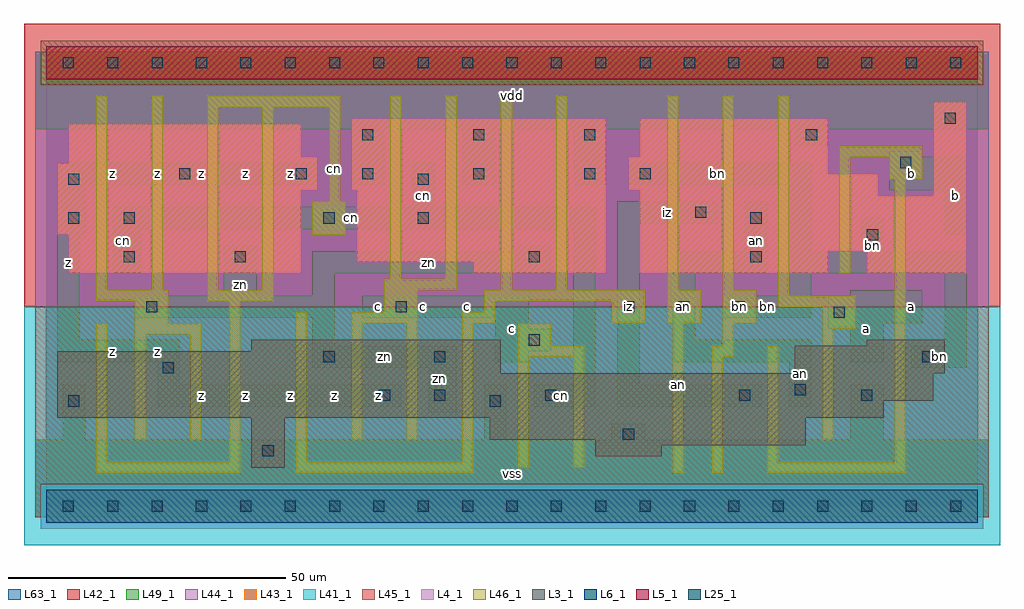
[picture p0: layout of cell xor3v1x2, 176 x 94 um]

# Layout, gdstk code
import gdstk
lib = gdstk.Library(unit=1e-6, precision=1e-09)
def R(c, l, rs):  # rectangles x0, y0, x1, y1
    for r in rs: c.add(gdstk.rectangle(r[:2], r[2:], *l))
def A(c, l, x, y, w, h, nx, ny, dx, dy):  # array of equal rectangles
    R(c, l, [(x+i*dx, y+j*dy, x+i*dx+w, y+j*dy+h) for i in range(nx) for j in range(ny)])
L3_1 = (3, 1)
L4_1 = (4, 1)
L5_1 = (5, 1)
L6_1 = (6, 1)
L25_1 = (25, 1)
L41_1 = (41, 1)
L42_1 = (42, 1)
L43_1 = (43, 1)
L44_1 = (44, 1)
L45_1 = (45, 1)
L46_1 = (46, 1)
L49_1 = (49, 1)
L63_1 = (63, 1)

xor3v1x2 = lib.new_cell('xor3v1x2')
R(xor3v1x2, L3_1, [(37,7,43,16), (99,9,111,11), (99,11,137,12), (80,12,137,16), (2,16,151,19), (2,19,160,24), (2,24,82,28), (135,24,162,29), (37,28,82,30), (148,29,162,30)])
R(xor3v1x2, L4_1, [(4,42,46,49), (77,42,101,44), (107,42,141,46), (148,42,166,46), (56,44,101,57), (107,46,166,56), (2,49,46,57), (107,56,150,57), (160,56,166,73), (2,57,49,62), (55,57,101,70), (105,57,150,60), (105,60,141,63), (4,62,49,63), (4,63,46,69), (107,63,141,70)])
R(xor3v1x2, L5_1, [(0,77,168,83)])
R(xor3v1x2, L6_1, [(0,-3,168,3), (0,-3,168,3)])
A(xor3v1x2, L25_1, 3, -1, 2, 2, 21, 2, 8, 80)
A(xor3v1x2, L25_1, 104, 35, 2, 2, 3, 1, 10, 0)
A(xor3v1x2, L25_1, 57, 59, 2, 2, 3, 2, 20, 7)
R(xor3v1x2, L25_1, [(39,9,41,11), (104,12,106,14), (4,18,6,20), (80,18,82,20), (60,19,62,21), (70,19,72,21), (90,19,92,21), (125,19,127,21), (147,19,149,21), (135,20,137,22), (21,24,23,26), (50,26,52,28), (70,26,72,28), (158,26,160,28), (87,29,89,31), (142,34,144,36), (18,35,20,37), (63,35,65,37), (14,44,16,46), (34,44,36,46), (87,44,89,46), (127,44,129,46), (148,48,150,50), (4,51,6,53), (14,51,16,53), (50,51,52,53), (67,51,69,53), (127,51,129,53), (117,52,119,54), (4,58,6,60), (67,58,69,60), (24,59,26,61), (45,59,47,61), (107,59,109,61), (154,61,156,63), (137,66,139,68), (162,69,164,71)])
R(xor3v1x2, L41_1, [(-4,-7,172,36)])
R(xor3v1x2, L42_1, [(-4,36,172,87)])
R(xor3v1x2, L43_1, [(0,-3,168,3), (37,7,43,16), (99,9,111,11), (99,11,137,12), (80,12,137,16), (2,16,151,19), (2,19,160,24), (2,24,82,28), (135,24,162,29), (37,28,82,30), (148,29,162,30), (4,42,46,49), (77,42,101,44), (107,42,141,46), (148,42,166,46), (56,44,101,57), (107,46,166,56), (2,49,46,57), (107,56,150,57), (160,56,166,73), (2,57,49,62), (55,57,101,70), (105,57,150,60), (105,60,141,63), (4,62,49,63), (4,63,46,69), (107,63,141,70), (0,77,168,83)])
R(xor3v1x2, L44_1, [(-1,-4,169,4), (-2,36,170,76), (-2,76,-1,82), (169,76,170,82)])
R(xor3v1x2, L45_1, [(-2,-2,-1,4), (169,-2,170,4), (-2,4,170,36), (-1,76,169,84)])
R(xor3v1x2, L46_1, [(9,6,35,8), (45,6,77,8), (113,6,115,33), (120,6,122,27), (130,6,155,8), (85,7,87,27), (95,7,97,27), (9,8,11,33), (33,8,35,37), (45,8,47,35), (75,8,77,33), (130,8,132,29), (153,8,155,59), (16,12,18,31), (26,12,28,31), (55,12,57,33), (65,12,67,33), (140,12,142,32), (85,27,97,29), (120,27,124,29), (85,29,91,33), (122,29,124,33), (16,31,28,33), (140,32,146,36), (16,33,22,37), (55,33,67,35), (75,33,81,35), (102,33,108,37), (112,33,118,39), (122,33,128,39), (61,35,67,39), (79,35,81,37), (132,36,146,38), (9,37,22,39), (29,37,41,39), (79,37,108,39), (132,38,134,74), (9,39,11,74), (19,39,21,74), (29,39,31,72), (39,39,41,72), (61,39,74,41), (82,39,84,74), (92,39,94,74), (112,39,114,74), (122,39,124,74), (62,41,64,74), (72,41,74,74), (143,42,145,63), (48,49,54,55), (51,55,53,72), (152,59,158,63), (143,63,158,65), (29,72,53,74)])
A(xor3v1x2, L49_1, 55, 58, 6, 10, 3, 1, 20, 0)
R(xor3v1x2, L49_1, [(-2,-2,170,12), (3,12,7,22), (79,12,83,22), (102,12,108,15), (145,12,151,22), (69,17,74,25), (20,18,64,22), (88,18,99,22), (103,18,129,22), (134,18,138,26), (20,22,24,26), (95,22,99,50), (103,22,107,51), (48,25,74,29), (156,25,166,29), (2,26,24,30), (81,26,87,28), (113,26,138,30), (145,26,151,32), (81,28,91,32), (48,29,52,34), (162,29,166,42), (2,30,6,49), (113,30,117,42), (81,32,87,34), (141,32,151,33), (141,33,158,38), (16,34,52,38), (57,34,87,38), (122,34,138,38), (32,38,38,47), (48,38,52,42), (134,38,138,42), (145,38,158,39), (12,42,17,50), (48,42,91,46), (113,42,130,46), (134,42,166,46), (85,46,91,47), (126,46,130,55), (134,46,138,58), (147,46,151,52), (2,49,7,58), (162,49,166,57), (12,50,99,54), (103,51,121,55), (66,54,70,62), (152,57,166,63), (2,58,49,62), (105,58,138,62), (152,63,158,64), (135,65,141,68), (-2,68,170,82)])
R(xor3v1x2, L63_1, [(0,0,168,80)])
xor3v1x2.add(gdstk.Label('cn', (52,61), layer=46, texttype=1))
xor3v1x2.add(gdstk.Label('an', (114,22), layer=46, texttype=1))
xor3v1x2.add(gdstk.Label('iz', (105,36), layer=49, texttype=1))
xor3v1x2.add(gdstk.Label('bn', (125,36), layer=49, texttype=1))
xor3v1x2.add(gdstk.Label('z', (20,28), layer=49, texttype=1))
xor3v1x2.add(gdstk.Label('z', (12,28), layer=49, texttype=1))
xor3v1x2.add(gdstk.Label('z', (28,20), layer=49, texttype=1))
xor3v1x2.add(gdstk.Label('z', (4,44), layer=49, texttype=1))
xor3v1x2.add(gdstk.Label('cn', (14,48), layer=49, texttype=1))
xor3v1x2.add(gdstk.Label('z', (12,60), layer=49, texttype=1))
xor3v1x2.add(gdstk.Label('z', (20,60), layer=49, texttype=1))
xor3v1x2.add(gdstk.Label('z', (28,60), layer=49, texttype=1))
xor3v1x2.add(gdstk.Label('z', (36,20), layer=49, texttype=1))
xor3v1x2.add(gdstk.Label('z', (44,20), layer=49, texttype=1))
xor3v1x2.add(gdstk.Label('z', (52,20), layer=49, texttype=1))
xor3v1x2.add(gdstk.Label('z', (60,20), layer=49, texttype=1))
xor3v1x2.add(gdstk.Label('zn', (35,40), layer=49, texttype=1))
xor3v1x2.add(gdstk.Label('c', (60,36), layer=49, texttype=1))
xor3v1x2.add(gdstk.Label('z', (36,60), layer=49, texttype=1))
xor3v1x2.add(gdstk.Label('z', (44,60), layer=49, texttype=1))
xor3v1x2.add(gdstk.Label('vss', (84,6), layer=49, texttype=1))
xor3v1x2.add(gdstk.Label('zn', (61,27), layer=49, texttype=1))
xor3v1x2.add(gdstk.Label('zn', (71,23), layer=49, texttype=1))
xor3v1x2.add(gdstk.Label('cn', (93,20), layer=49, texttype=1))
xor3v1x2.add(gdstk.Label('c', (84,32), layer=49, texttype=1))
xor3v1x2.add(gdstk.Label('c', (68,36), layer=49, texttype=1))
xor3v1x2.add(gdstk.Label('zn', (69,44), layer=49, texttype=1))
xor3v1x2.add(gdstk.Label('c', (76,36), layer=49, texttype=1))
xor3v1x2.add(gdstk.Label('cn', (68,56), layer=49, texttype=1))
xor3v1x2.add(gdstk.Label('cn', (55,52), layer=49, texttype=1))
xor3v1x2.add(gdstk.Label('vdd', (84,74), layer=49, texttype=1))
xor3v1x2.add(gdstk.Label('iz', (116,20), layer=49, texttype=1))
xor3v1x2.add(gdstk.Label('an', (115,36), layer=49, texttype=1))
xor3v1x2.add(gdstk.Label('an', (128,48), layer=49, texttype=1))
xor3v1x2.add(gdstk.Label('iz', (105,36), layer=49, texttype=1))
xor3v1x2.add(gdstk.Label('iz', (112,53), layer=49, texttype=1))
xor3v1x2.add(gdstk.Label('an', (136,24), layer=49, texttype=1))
xor3v1x2.add(gdstk.Label('bn', (161,27), layer=49, texttype=1))
xor3v1x2.add(gdstk.Label('a', (148,32), layer=49, texttype=1))
xor3v1x2.add(gdstk.Label('bn', (130,36), layer=49, texttype=1))
xor3v1x2.add(gdstk.Label('a', (156,36), layer=49, texttype=1))
xor3v1x2.add(gdstk.Label('bn', (149,47), layer=49, texttype=1))
xor3v1x2.add(gdstk.Label('bn', (121,60), layer=49, texttype=1))
xor3v1x2.add(gdstk.Label('b', (156,60), layer=49, texttype=1))
xor3v1x2.add(gdstk.Label('b', (164,56), layer=49, texttype=1))

lib.write_gds('xor3v1x2.gds')
